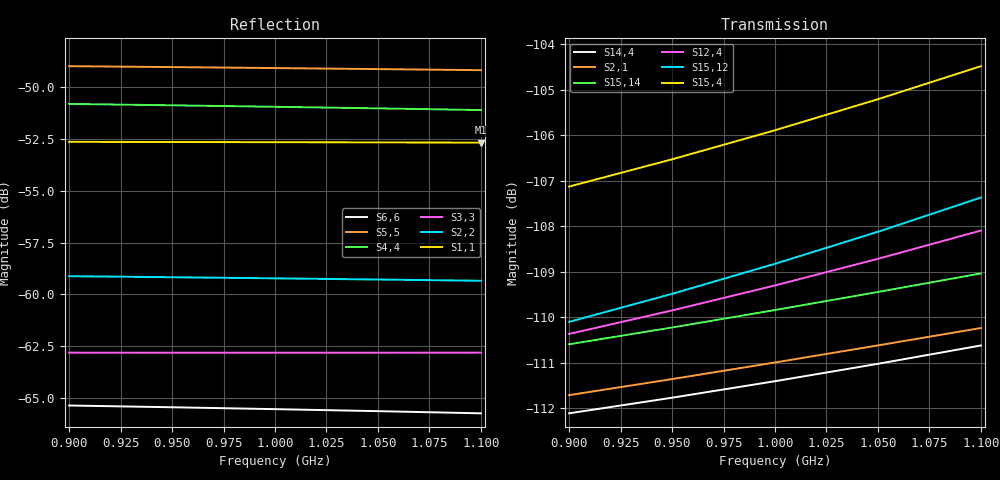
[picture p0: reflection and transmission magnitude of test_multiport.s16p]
! Touchstone file from project test_multiport
! Exported from HFSS 2019.2.0
!Data is not renormalized
# GHZ S MA
! Modal data exported
! Port[1] = 1:1
! Port[2] = 2:1
! Port[3] = 3:1
! Port[4] = 4:1
! Port[5] = 5:1
! Port[6] = 6:1
! Port[7] = 7:1
! Port[8] = 8:1
! Port[9] = 9:1
! Port[10] = 10:1
! Port[11] = 11:1
! Port[12] = 12:1
! Port[13] = 13:1
! Port[14] = 14:1
! Port[15] = 15:1
! Port[16] = 16:1
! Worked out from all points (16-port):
!   5 points, 900 MHz to 1.1 GHz, reference per port
!   strongest paths, dB at 900 MHz, 950 MHz, 1 GHz, 1.05 GHz, 1.1 GHz:
!     S15,4: -107.1, -106.5, -105.9, -105.2, -104.5
!     S15,12: -110.1, -109.5, -108.8, -108.1, -107.4
!     S12,4: -110.4, -109.9, -109.3, -108.7, -108.1
!     S15,14: -110.6, -110.2, -109.8, -109.4, -109.0
!     S2,1: -111.7, -111.4, -111.0, -110.6, -110.2
!     S14,4: -112.1, -111.8, -111.4, -111.0, -110.6
!   lowest |S11| = -52.7 dB at 1.1 GHz (marker M1), VSWR 1.00
!   |S11| at or under -10 dB: start of sweep to end of sweep
